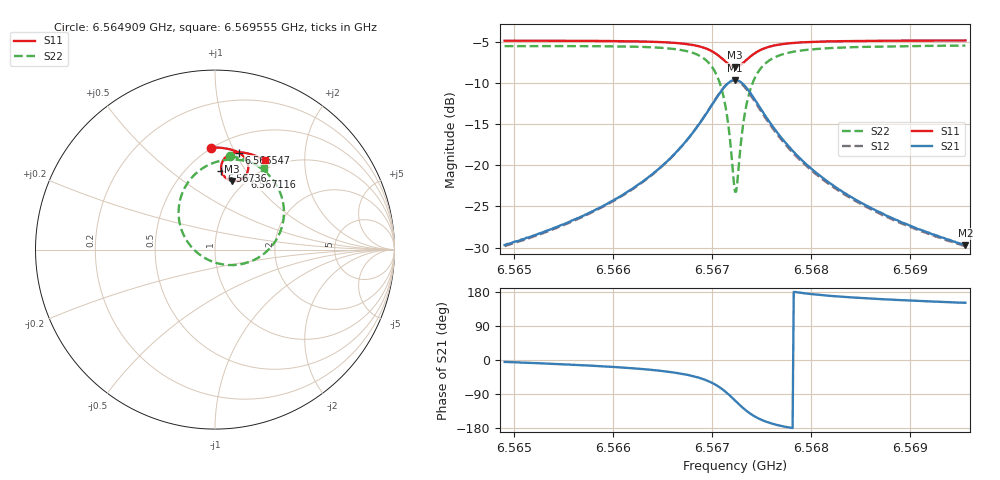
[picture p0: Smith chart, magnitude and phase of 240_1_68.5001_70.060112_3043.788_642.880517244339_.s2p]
#  HZ  S  RI  R  50.00
! Rohde & Schwarz Vector Network Analyzer
! Rohde-Schwarz,ZNB20-2Port,1311601062101988,3.16
! Created: UTC 3/20/2024, 5:14:25 PM
! freq[Hz]  re:S11  im:S11  re:S21  im:S21  re:S12  im:S12  re:S22  im:S22
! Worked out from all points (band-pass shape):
!   401 points, 6.564909 GHz to 6.569555 GHz, reference 50 ohm
!   highest |S21| = -9.67 dB at 6.567232 GHz (marker M1); lowest = -29.7 dB at 6.569555 GHz (marker M2)
!   |S21| within 3 dB of the highest: 6.567001 GHz to 6.567465 GHz (464.2 kHz wide, 0.00707 % of centre)
!   lowest |S11| = -8.1 dB at 6.567232 GHz (marker M3), VSWR 2.30, Z = 43.5 + j39.5 ohm
!   |S11| at or under -10 dB: nowhere
!   |S22| runs from -23.2 to -5.5 dB; largest |S21 - S12| = 0.017
!   S11 on the Smith chart (normalised r, x): 6.564909 GHz: 0.50, +0.83; 6.566547 GHz: 0.67, +1.04; 6.567116 GHz: 0.94, +0.94; 6.56736 GHz: 0.72, +0.78; 6.569555 GHz: 0.87, +1.29
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6.5649086e9  -0.0198 0.5687  0.0326 -0.00294  0.0321 -0.00329  0.0834 0.5203
6.5656869e9  0.0461 0.5656  0.0474 -0.0116  0.0467 -0.0122  0.1639 0.5008
6.5661284e9  0.0879 0.5577  0.0634 -0.0236  0.0624 -0.0245  0.223 0.4744
6.5664653e9  0.1245 0.5442  0.0841 -0.0447  0.0829 -0.0458  0.2838 0.4309
6.5665466e9  0.1345 0.5389  0.0908 -0.0534  0.0894 -0.0548  0.3018 0.4135
6.5667673e9  0.1634 0.515  0.1122 -0.0945  0.1106 -0.0964  0.356 0.3338
6.5669415e9  0.1837 0.4753  0.122 -0.1646  0.1186 -0.1682  0.384 0.1986
6.5670461e9  0.182 0.4348  0.1007 -0.2353  0.0937 -0.2401  0.3467 0.0639
6.5671158e9  0.1635 0.4037  0.0537 -0.288  0.0427 -0.2917  0.2587 -0.0336
6.5671623e9  0.1398 0.3874  0.0022 -0.3141  -0.0118 -0.3146  0.1617 -0.0777
6.5672087e9  0.1088 0.3809  -0.0617 -0.3207  -0.077 -0.3162  0.0448 -0.0828
6.567232e9  0.0925 0.3828  -0.0947 -0.3145  -0.1097 -0.307  -0.0137 -0.0675
6.5672552e9  0.077 0.3884  -0.1259 -0.3016  -0.1396 -0.2918  -0.0673 -0.0407
6.5673133e9  0.0475 0.414  -0.1855 -0.2492  -0.1937 -0.235  -0.1643 0.0614
6.5673597e9  0.036 0.4399  -0.2095 -0.1983  -0.2132 -0.1841  -0.1982 0.1539
6.5674527e9  0.0393 0.4847  -0.2112 -0.1119  -0.2091 -0.1009  -0.1862 0.3046
6.5675921e9  0.0669 0.5214  -0.1739 -0.0406  -0.17 -0.0346  -0.1068 0.4242
6.5677547e9  0.0993 0.5374  -0.1338 -0.00688  -0.1302 -0.00373  -0.0236 0.4774
6.5680103e9  0.1384 0.542  -0.0935 0.0105  -0.0912 0.0119  0.0641 0.5001
6.5683471e9  0.1769 0.5373  -0.0654 0.0159  -0.0636 0.0168  0.136 0.4995
6.5687886e9  0.2176 0.5254  -0.0455 0.0169  -0.0444 0.0172  0.1984 0.4865
6.5695553e9  0.2772 0.4989  -0.0286 0.0158  -0.0279 0.0161  0.2736 0.4554
